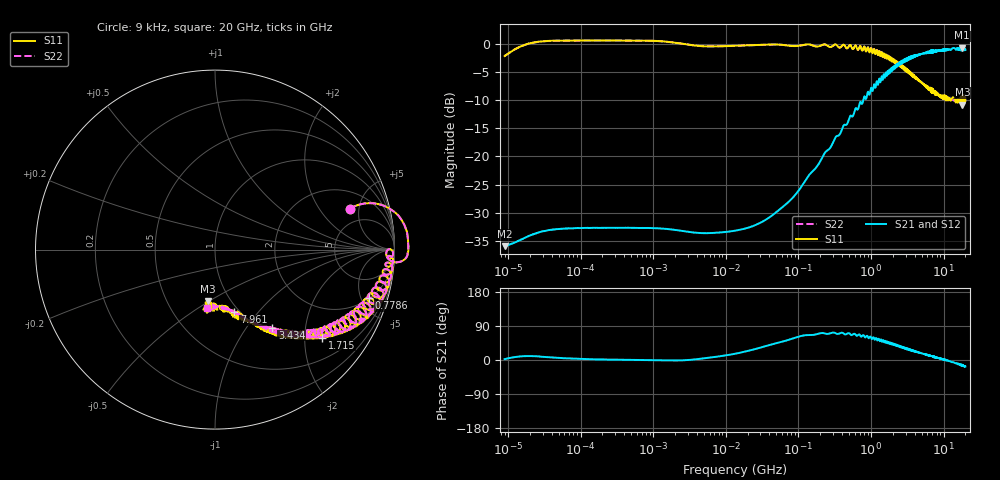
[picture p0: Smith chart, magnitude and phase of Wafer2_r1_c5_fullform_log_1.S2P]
!  2-Port S-parameters saved by WinCal
! VAR MeasName=S-Parameters (CALIBRATED_DATA) read from VNA (P5004A)
! VAR MeasDate=26/04/2024 19:11:42
! VAR NAME=Wafer2_r1_c5_fullform_log
! VAR FILENAME=Wafer2_r1_c5_fullform_log_1.S2P
! VAR DATE=26/04/2024 19:11:42
! VAR PHYS_PORTS=1,2
! VAR ObjTypeName=DATASET
! VAR IndexType=Frequency
# Hz S MA R 50
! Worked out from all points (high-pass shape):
!   2000 points, 9 kHz to 20 GHz, reference 50 ohm
!   highest |S21| = -0.64 dB at 18.05 GHz (marker M1); lowest = -36.0 dB at 9 kHz (marker M2)
!   |S21| within 3 dB of the highest: 2.446 GHz to 2.525 GHz (79.54 MHz wide, 3.2 % of centre); 2.529 GHz to end of sweep (the widest 2 of 4)
!   lowest |S11| = -10.8 dB at 18.19 GHz (marker M3), VSWR 1.82, Z = 39.3 - j24.6 ohm
!   |S11| at or under -10 dB: 12.39 GHz to 12.73 GHz (337.7 MHz wide, 2.69 % of centre); 14.45 GHz to 15.12 GHz (674.4 MHz wide, 4.56 % of centre); 16.18 GHz to 16.47 GHz (291.5 MHz wide, 1.79 % of centre) (the widest 3 of 15)
!   |S22| runs from -10.4 to 0.6 dB; largest |S21 - S12| = 0.038
!   S11 on the Smith chart (normalised r, x): 9 kHz: 3.41, +3.99; 778.6 MHz: 2.09, -5.78; 1.715 GHz: 1.00, -2.44; 3.434 GHz: 1.09, -1.33; 7.961 GHz: 0.94, -0.76; 20 GHz: 0.77, -0.52
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9000  0.7837 16.7  0.0159 2.2  0.01621 1.1  0.7834 16.7
14160.92  0.939 15.7  0.01785 9.2  0.01809 8.4  0.9383 15.7
26361.17  1.05 9.3  0.02102 9.5  0.02126 9.1  1.05 9.4
103439.5  1.077 2.0  0.02306 2.7  0.02329 2.7  1.076 2.0
1180198  1.065 -2.5  0.02291 -1.0  0.02313 -1.0  1.065 -2.5
4530556  0.9605 -2.6  0.02081 3.3  0.02107 3.2  0.9602 -2.5
1.346554e7  0.9654 0.1  0.02185 16.5  0.02201 16.1  0.9653 0.1
4.565051e7  0.9924 -1.3  0.03058 42.6  0.03031 42.3  0.9926 -1.3
8.436145e7  0.9617 -2.6  0.04308 56.8  0.04332 57.4  0.9618 -2.6
1.155229e8  0.9797 -2.2  0.05635 64.4  0.05655 63.9  0.979 -2.2
1.536358e8  0.9793 -5.5  0.07273 65.7  0.07201 65.8  0.9798 -5.4
2.966476e8  0.9618 -6.5  0.1304 72.2  0.1316 72.1  0.9614 -6.5
7.786429e8  0.8976 -17.5  0.3095 65.5  0.3105 65.6  0.8979 -17.3
1.043128e9  0.8385 -27.3  0.383 56.3  0.3832 56.4  0.84 -27.0
1.71489e9  0.7736 -39.3  0.5684 43.9  0.5665 44.2  0.7784 -38.7
1.752917e9  0.7323 -36.6  0.5451 46.8  0.5479 46.7  0.7319 -36.3
3.434468e9  0.5398 -53.7  0.733 28.0  0.7361 28.2  0.544 -53.2
7.96127e9  0.3658 -72.8  0.8733 7.5  0.8826 7.4  0.37 -73.1
1.35755e10  0.3353 -87.7  0.923 -5.7  0.9191 -6.7  0.3173 -87.1
1.805428e10  0.3496 -97.8  0.9295 -14.5  0.9019 -16.1  0.3014 -93.2
1.818676e10  0.2898 -98.1  0.8829 -16.2  0.8708 -13.9  0.331 -91.9
2e10  0.3111 -97.7  0.8872 -17.1  0.9009 -16.5  0.3302 -97.5
